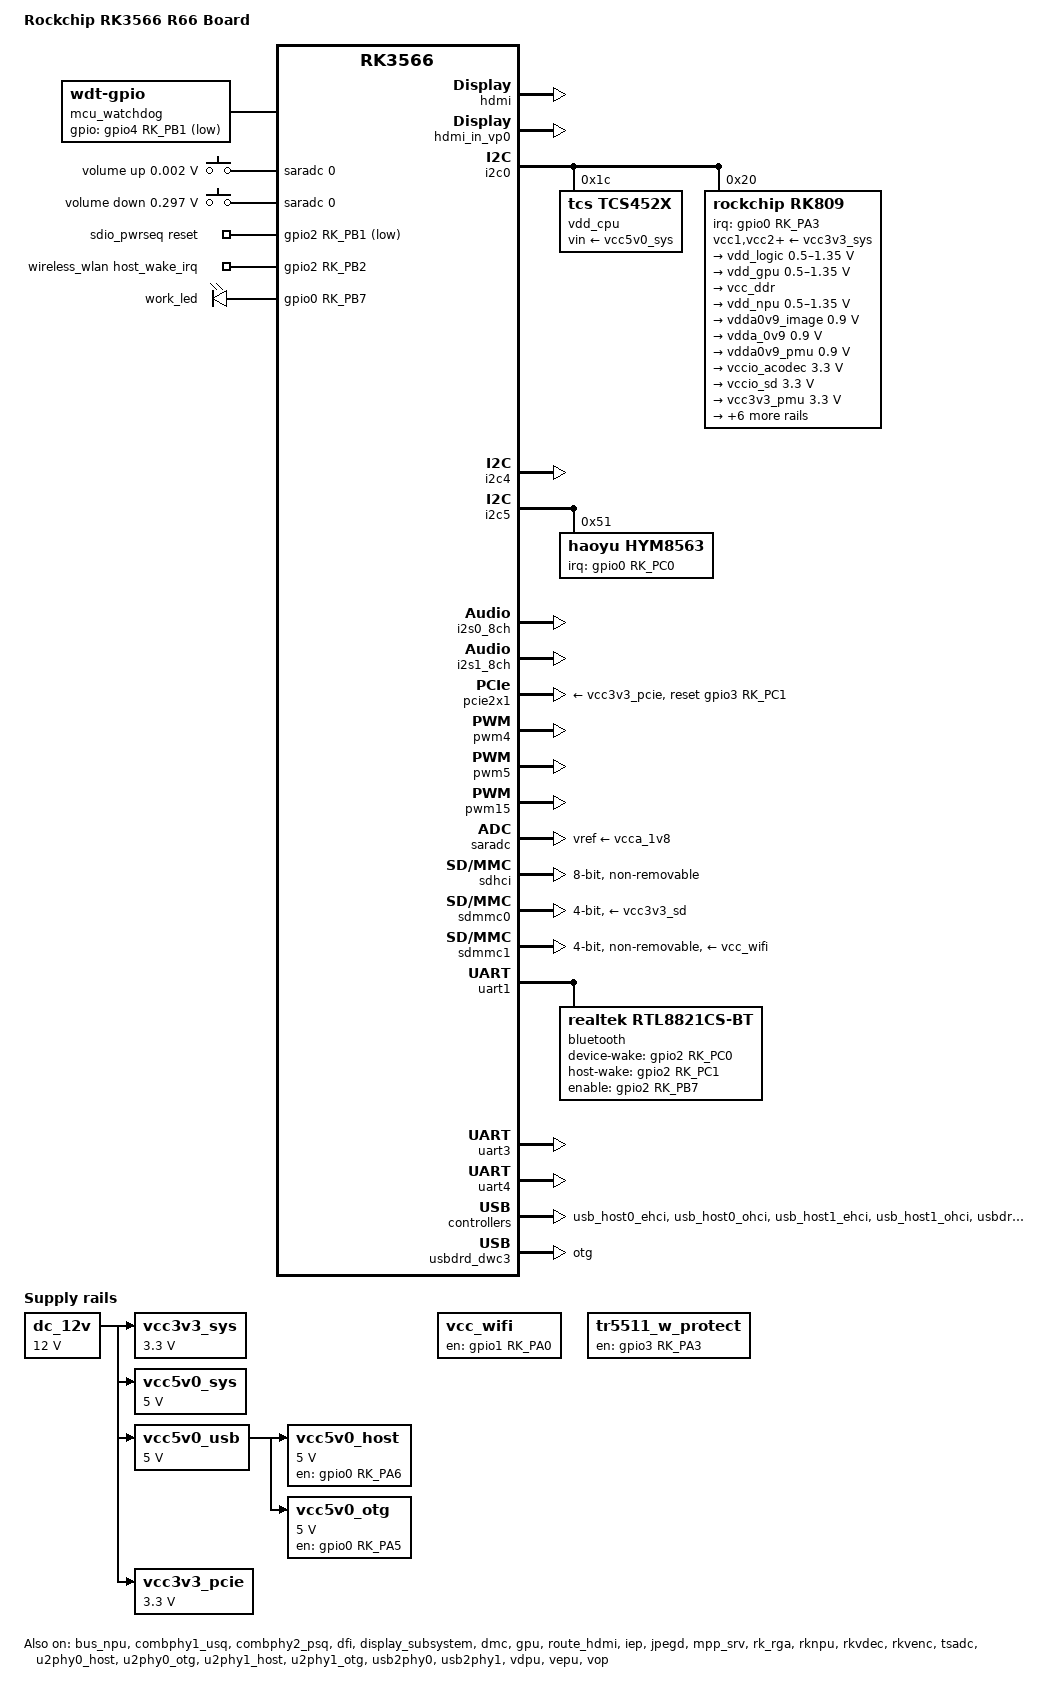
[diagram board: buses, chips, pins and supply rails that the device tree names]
// SPDX-License-Identifier: (GPL-2.0+ OR MIT)
/*
 * Device Tree for R66 (RK3566 DDR4) Board
 * Derived from factory Android DTB (Rockchip RK3566 EVB1 DDR4 V10 base)
 */

/dts-v1/;

#include <dt-bindings/gpio/gpio.h>
#include <dt-bindings/pwm/pwm.h>
#include <dt-bindings/pinctrl/rockchip.h>
#include <dt-bindings/input/rk-input.h>
#include <dt-bindings/display/drm_mipi_dsi.h>
#include "rk3566.dtsi"
#include "rk3568-linux.dtsi"

/ {
	model = "Rockchip RK3566 R66 Board";
	compatible = "rockchip,rk3566-r66", "rockchip,rk3566-evb1-ddr4-v10", "rockchip,rk3566";

	/*
	 * External MCU (spirit_mcu@15) hardware watchdog feed on GPIO4_B1.
	 * Driven automatically by the kernel gpio_wdt driver (always-running)
	 * so the board will never be reset by the external MCU.
	 */
	mcu_watchdog: watchdog-gpio {
		compatible = "linux,wdt-gpio";
		gpios = <&gpio4 RK_PB1 GPIO_ACTIVE_LOW>;
		hw_algo = "toggle";
		hw_margin_ms = <800>;
		always-running;
		pinctrl-names = "default";
		pinctrl-0 = <&feed_gpios>;
	};

	adc_keys: adc-keys {
		compatible = "adc-keys";
		io-channels = <&saradc 0>;
		io-channel-names = "buttons";
		keyup-threshold-microvolt = <1800000>;
		poll-interval = <100>;

		vol-up-key {
			label = "volume up";
			linux,code = <KEY_VOLUMEUP>;
			press-threshold-microvolt = <1750>;
		};

		vol-down-key {
			label = "volume down";
			linux,code = <KEY_VOLUMEDOWN>;
			press-threshold-microvolt = <297500>;
		};
	};

	dc_12v: dc-12v {
		compatible = "regulator-fixed";
		regulator-name = "dc_12v";
		regulator-always-on;
		regulator-boot-on;
		regulator-min-microvolt = <12000000>;
		regulator-max-microvolt = <12000000>;
	};

	vcc3v3_sys: vcc3v3-sys {
		compatible = "regulator-fixed";
		regulator-name = "vcc3v3_sys";
		regulator-always-on;
		regulator-boot-on;
		regulator-min-microvolt = <3300000>;
		regulator-max-microvolt = <3300000>;
		vin-supply = <&dc_12v>;
	};

	vcc5v0_sys: vcc5v0-sys {
		compatible = "regulator-fixed";
		regulator-name = "vcc5v0_sys";
		regulator-always-on;
		regulator-boot-on;
		regulator-min-microvolt = <5000000>;
		regulator-max-microvolt = <5000000>;
		vin-supply = <&dc_12v>;
	};

	vcc5v0_usb: vcc5v0-usb {
		compatible = "regulator-fixed";
		regulator-name = "vcc5v0_usb";
		regulator-always-on;
		regulator-boot-on;
		regulator-min-microvolt = <5000000>;
		regulator-max-microvolt = <5000000>;
		vin-supply = <&dc_12v>;
	};

	vcc5v0_host: vcc5v0-host-regulator {
		compatible = "regulator-fixed";
		regulator-name = "vcc5v0_host";
		regulator-boot-on;
		regulator-always-on;
		regulator-min-microvolt = <5000000>;
		regulator-max-microvolt = <5000000>;
		enable-active-high;
		gpio = <&gpio0 RK_PA6 GPIO_ACTIVE_HIGH>;
		vin-supply = <&vcc5v0_usb>;
		pinctrl-names = "default";
		pinctrl-0 = <&vcc5v0_host_en>;
	};

	vcc5v0_otg: vcc5v0-otg-regulator {
		compatible = "regulator-fixed";
		regulator-name = "vcc5v0_otg";
		regulator-min-microvolt = <5000000>;
		regulator-max-microvolt = <5000000>;
		enable-active-high;
		gpio = <&gpio0 RK_PA5 GPIO_ACTIVE_HIGH>;
		vin-supply = <&vcc5v0_usb>;
		pinctrl-names = "default";
		pinctrl-0 = <&vcc5v0_otg_en>;
	};

	vcc3v3_pcie: gpio-regulator {
		compatible = "regulator-fixed";
		regulator-name = "vcc3v3_pcie";
		regulator-min-microvolt = <3300000>;
		regulator-max-microvolt = <3300000>;
		enable-active-high;
		regulator-always-on;
		regulator-boot-on;
		startup-delay-us = <5000>;
		vin-supply = <&dc_12v>;
	};

	vcc_wifi: vcc-wifi-regulator {
		compatible = "regulator-fixed";
		gpio = <&gpio1 RK_PA0 GPIO_ACTIVE_HIGH>;
		pinctrl-names = "default";
		pinctrl-0 = <&wifi_pwr>;
		regulator-name = "vcc_wifi";
		enable-active-high;
		regulator-always-on;
		regulator-boot-on;
	};

	tr5511_w_protect: tr5511-W-protect-pin {
		compatible = "regulator-fixed";
		regulator-name = "tr5511_w_protect";
		gpio = <&gpio3 RK_PA3 GPIO_ACTIVE_HIGH>;
		pinctrl-names = "default";
		pinctrl-0 = <&tr5511_pin>;
		enable-active-high;
		regulator-always-on;
		regulator-boot-on;
	};

	sdio_pwrseq: sdio-pwrseq {
		compatible = "mmc-pwrseq-simple";
		clocks = <&rk809 1>;
		clock-names = "ext_clock";
		pinctrl-names = "default";
		pinctrl-0 = <&wifi_enable_h>;
		post-power-on-delay-ms = <200>;
		reset-gpios = <&gpio2 RK_PB1 GPIO_ACTIVE_LOW>;
	};

	wireless_wlan: wireless-wlan {
		compatible = "wlan-platdata";
		rockchip,grf = <&grf>;
		wifi_chip_type = "rtl8821cs";
		pinctrl-names = "default";
		pinctrl-0 = <&wifi_host_wake_irq>;
		WIFI,host_wake_irq = <&gpio2 RK_PB2 GPIO_ACTIVE_HIGH>;
		status = "okay";
	};

	hdmi_sound: hdmi-sound {
		compatible = "simple-audio-card";
		simple-audio-card,format = "i2s";
		simple-audio-card,mclk-fs = <128>;
		simple-audio-card,name = "rockchip,hdmi";
		status = "okay";

		simple-audio-card,cpu {
			sound-dai = <&i2s0_8ch>;
		};
		simple-audio-card,codec {
			sound-dai = <&hdmi>;
		};
	};

	rk809_sound: rk809-sound {
		status = "okay";
		compatible = "simple-audio-card";
		simple-audio-card,format = "i2s";
		simple-audio-card,name = "rockchip,rk809-codec";
		simple-audio-card,mclk-fs = <256>;

		simple-audio-card,cpu {
			sound-dai = <&i2s1_8ch>;
		};
		simple-audio-card,codec {
			sound-dai = <&rk809_codec>;
		};
	};

	leds: leds {
		compatible = "gpio-leds";

		work_led: work {
			gpios = <&gpio0 RK_PB7 GPIO_ACTIVE_HIGH>;
			linux,default-trigger = "heartbeat";
		};
	};

	/*
	 * Optional eDP backlight & panel (disabled by default so HDMI is primary).
	 * Change status to "okay" on backlight, panel_edp, &edp, &edp_phy,
	 * &edp_in_vp1, and &route_edp if you attach an eDP panel.
	 */
	backlight: backlight {
		status = "disabled";
		compatible = "pwm-backlight";
		pwms = <&pwm4 0 5000000 1>;
		brightness-levels = <0 255>;
		num-interpolated-steps = <255>;
		default-brightness-level = <200>;
		enable-gpios = <&gpio0 RK_PC7 GPIO_ACTIVE_HIGH>;
		pinctrl-names = "default";
		pinctrl-0 = <&edp_backlight_on>;
	};

	panel_edp: panel-edp {
		status = "disabled";
		compatible = "simple-panel";
		backlight = <&backlight>;
		enable-gpios = <&gpio0 RK_PC4 GPIO_ACTIVE_HIGH>;
		pinctrl-names = "default";
		pinctrl-0 = <&edp_vdd_en_gpio>;
		enable-delay-ms = <220>;
		prepare-delay-ms = <220>;
		reset-delay-ms = <220>;
		init-delay-ms = <220>;
		bpc = <8>;
		width-mm = <344>;
		height-mm = <193>;

		ports {
			#address-cells = <1>;
			#size-cells = <0>;

			port@0 {
				reg = <0>;

				panel_in_edp: endpoint {
					remote-endpoint = <&edp_out_panel>;
				};
			};
		};
	};
};

&bus_npu {
	bus-supply = <&vdd_logic>;
	pvtm-supply = <&vdd_cpu>;
	status = "okay";
};

&combphy1_usq {
	status = "okay";
};

&combphy2_psq {
	status = "okay";
};

&cpu0 {
	cpu-supply = <&vdd_cpu>;
};

&cpu1 {
	cpu-supply = <&vdd_cpu>;
};

&cpu2 {
	cpu-supply = <&vdd_cpu>;
};

&cpu3 {
	cpu-supply = <&vdd_cpu>;
};

&dfi {
	status = "okay";
};

&display_subsystem {
	status = "okay";
};

&dmc {
	center-supply = <&vdd_logic>;
	status = "okay";
};

&edp {
	force-hpd;
	status = "disabled";

	ports {
		port@1 {
			reg = <1>;

			edp_out_panel: endpoint {
				remote-endpoint = <&panel_in_edp>;
			};
		};
	};
};

&edp_phy {
	status = "disabled";
};

&edp_in_vp0 {
	status = "disabled";
};

&edp_in_vp1 {
	status = "disabled";
};

&gpu {
	mali-supply = <&vdd_gpu>;
	status = "okay";
};

&hdmi {
	status = "okay";
	pinctrl-names = "default";
	pinctrl-0 = <&hdmitx_scl &hdmitx_sda &hdmitxm0_cec>;
	rockchip,phy-table =
		<92812500  0x8009 0x0000 0x0270>,
		<165000000 0x800b 0x0000 0x0209>,
		<185625000 0x800b 0x0000 0x01ed>,
		<297000000 0x800b 0x0000 0x01ad>,
		<594000000 0x8029 0x0000 0x0088>,
		<000000000 0x0000 0x0000 0x0000>;
};

&hdmi_in_vp0 {
	status = "okay";
};

&hdmi_in_vp1 {
	status = "disabled";
};

&route_hdmi {
	status = "okay";
	connect = <&vp0_out_hdmi>;
};

&i2c0 {
	status = "okay";

	vdd_cpu: tcs4525@1c {
		compatible = "tcs,tcs452x";
		reg = <0x1c>;
		vin-supply = <&vcc5v0_sys>;
		regulator-compatible = "fan53555-reg";
		regulator-name = "vdd_cpu";
		regulator-min-microvolt = <712500>;
		regulator-max-microvolt = <1390000>;
		regulator-init-microvolt = <900000>;
		regulator-ramp-delay = <2300>;
		fcs,suspend-voltage-selector = <1>;
		regulator-boot-on;
		regulator-always-on;
		regulator-state-mem {
			regulator-off-in-suspend;
		};
	};

	rk809: pmic@20 {
		compatible = "rockchip,rk809";
		reg = <0x20>;
		interrupt-parent = <&gpio0>;
		interrupts = <RK_PA3 IRQ_TYPE_LEVEL_LOW>;

		pinctrl-names = "default", "pmic-sleep",
				"pmic-power-off", "pmic-reset";
		pinctrl-0 = <&pmic_int>;
		pinctrl-1 = <&soc_slppin_slp>, <&rk817_slppin_slp>;
		pinctrl-2 = <&soc_slppin_gpio>, <&rk817_slppin_pwrdn>;
		pinctrl-3 = <&soc_slppin_gpio>, <&rk817_slppin_rst>;

		rockchip,system-power-controller;
		wakeup-source;
		#clock-cells = <1>;
		clock-output-names = "rk808-clkout1", "rk808-clkout2";
		pmic-reset-func = <0>;
		not-save-power-en = <1>;

		vcc1-supply = <&vcc3v3_sys>;
		vcc2-supply = <&vcc3v3_sys>;
		vcc3-supply = <&vcc3v3_sys>;
		vcc4-supply = <&vcc3v3_sys>;
		vcc5-supply = <&vcc3v3_sys>;
		vcc6-supply = <&vcc3v3_sys>;
		vcc7-supply = <&vcc3v3_sys>;
		vcc8-supply = <&vcc3v3_sys>;
		vcc9-supply = <&vcc3v3_sys>;

		pwrkey {
			status = "okay";
		};

		pinctrl_rk8xx: pinctrl_rk8xx {
			gpio-controller;
			#gpio-cells = <2>;

			rk817_slppin_null: rk817_slppin_null {
				pins = "gpio_slp";
				function = "pin_fun0";
			};

			rk817_slppin_slp: rk817_slppin_slp {
				pins = "gpio_slp";
				function = "pin_fun1";
			};

			rk817_slppin_pwrdn: rk817_slppin_pwrdn {
				pins = "gpio_slp";
				function = "pin_fun2";
			};

			rk817_slppin_rst: rk817_slppin_rst {
				pins = "gpio_slp";
				function = "pin_fun3";
			};
		};

		regulators {
			vdd_logic: DCDC_REG1 {
				regulator-always-on;
				regulator-boot-on;
				regulator-min-microvolt = <500000>;
				regulator-max-microvolt = <1350000>;
				regulator-init-microvolt = <900000>;
				regulator-ramp-delay = <6001>;
				regulator-initial-mode = <0x2>;
				regulator-name = "vdd_logic";
				regulator-state-mem {
					regulator-off-in-suspend;
				};
			};

			vdd_gpu: DCDC_REG2 {
				regulator-always-on;
				regulator-boot-on;
				regulator-min-microvolt = <500000>;
				regulator-max-microvolt = <1350000>;
				regulator-init-microvolt = <900000>;
				regulator-ramp-delay = <6001>;
				regulator-initial-mode = <0x2>;
				regulator-name = "vdd_gpu";
				regulator-state-mem {
					regulator-off-in-suspend;
				};
			};

			vcc_ddr: DCDC_REG3 {
				regulator-always-on;
				regulator-boot-on;
				regulator-initial-mode = <0x2>;
				regulator-name = "vcc_ddr";
				regulator-state-mem {
					regulator-on-in-suspend;
				};
			};

			vdd_npu: DCDC_REG4 {
				regulator-always-on;
				regulator-boot-on;
				regulator-min-microvolt = <500000>;
				regulator-max-microvolt = <1350000>;
				regulator-init-microvolt = <900000>;
				regulator-ramp-delay = <6001>;
				regulator-initial-mode = <0x2>;
				regulator-name = "vdd_npu";
				regulator-state-mem {
					regulator-off-in-suspend;
				};
			};

			vdda0v9_image: LDO_REG1 {
				regulator-boot-on;
				regulator-always-on;
				regulator-min-microvolt = <900000>;
				regulator-max-microvolt = <900000>;
				regulator-name = "vdda0v9_image";
				regulator-state-mem {
					regulator-off-in-suspend;
				};
			};

			vdda_0v9: LDO_REG2 {
				regulator-always-on;
				regulator-boot-on;
				regulator-min-microvolt = <900000>;
				regulator-max-microvolt = <900000>;
				regulator-name = "vdda_0v9";
				regulator-state-mem {
					regulator-off-in-suspend;
				};
			};

			vdda0v9_pmu: LDO_REG3 {
				regulator-always-on;
				regulator-boot-on;
				regulator-min-microvolt = <900000>;
				regulator-max-microvolt = <900000>;
				regulator-name = "vdda0v9_pmu";
				regulator-state-mem {
					regulator-on-in-suspend;
					regulator-suspend-microvolt = <900000>;
				};
			};

			vccio_acodec: LDO_REG4 {
				regulator-always-on;
				regulator-boot-on;
				regulator-min-microvolt = <3300000>;
				regulator-max-microvolt = <3300000>;
				regulator-name = "vccio_acodec";
				regulator-state-mem {
					regulator-off-in-suspend;
				};
			};

			vccio_sd: LDO_REG5 {
				regulator-always-on;
				regulator-boot-on;
				regulator-min-microvolt = <3300000>;
				regulator-max-microvolt = <3300000>;
				regulator-name = "vccio_sd";
				regulator-state-mem {
					regulator-off-in-suspend;
				};
			};

			vcc3v3_pmu: LDO_REG6 {
				regulator-always-on;
				regulator-boot-on;
				regulator-min-microvolt = <3300000>;
				regulator-max-microvolt = <3300000>;
				regulator-name = "vcc3v3_pmu";
				regulator-state-mem {
					regulator-on-in-suspend;
					regulator-suspend-microvolt = <3300000>;
				};
			};

			vcca_1v8: LDO_REG7 {
				regulator-always-on;
				regulator-boot-on;
				regulator-min-microvolt = <1800000>;
				regulator-max-microvolt = <1800000>;
				regulator-name = "vcca_1v8";
				regulator-state-mem {
					regulator-off-in-suspend;
				};
			};

			vcca1v8_pmu: LDO_REG8 {
				regulator-always-on;
				regulator-boot-on;
				regulator-min-microvolt = <1800000>;
				regulator-max-microvolt = <1800000>;
				regulator-name = "vcca1v8_pmu";
				regulator-state-mem {
					regulator-on-in-suspend;
					regulator-suspend-microvolt = <1800000>;
				};
			};

			vcca1v8_image: LDO_REG9 {
				regulator-always-on;
				regulator-boot-on;
				regulator-min-microvolt = <1800000>;
				regulator-max-microvolt = <1800000>;
				regulator-name = "vcca1v8_image";
				regulator-state-mem {
					regulator-off-in-suspend;
				};
			};

			vcc_1v8: DCDC_REG5 {
				regulator-always-on;
				regulator-boot-on;
				regulator-min-microvolt = <1800000>;
				regulator-max-microvolt = <1800000>;
				regulator-name = "vcc_1v8";
				regulator-state-mem {
					regulator-off-in-suspend;
				};
			};

			vcc_3v3: SWITCH_REG1 {
				regulator-always-on;
				regulator-boot-on;
				regulator-name = "vcc_3v3";
				regulator-state-mem {
					regulator-off-in-suspend;
				};
			};

			vcc3v3_sd: SWITCH_REG2 {
				regulator-always-on;
				regulator-boot-on;
				regulator-name = "vcc3v3_sd";
				regulator-state-mem {
					regulator-off-in-suspend;
				};
			};
		};

		rk809_codec: codec {
			#sound-dai-cells = <0>;
			compatible = "rockchip,rk809-codec", "rockchip,rk817-codec";
			clocks = <&cru I2S1_MCLKOUT>;
			clock-names = "mclk";
			assigned-clocks = <&cru I2S1_MCLKOUT>, <&cru I2S1_MCLK_TX_IOE>;
			assigned-clock-rates = <12288000>;
			assigned-clock-parents = <&cru I2S1_MCLKOUT_TX>, <&cru I2S1_MCLKOUT_TX>;
			pinctrl-names = "default";
			pinctrl-0 = <&i2s1m0_mclk>;
			hp-volume = <30>;
			spk-volume = <35>;
			capture-volume = <20>;
			mic-in-differential;
			spk-ctl-gpios = <&gpio3 RK_PA2 GPIO_ACTIVE_HIGH>;
			use-ext-amplifier;
			status = "okay";
		};
	};
};

&i2c4 {
	pinctrl-names = "default";
	pinctrl-0 = <&i2c4m0_xfer>;
	status = "okay";
};

&i2c5 {
	pinctrl-names = "default";
	pinctrl-0 = <&i2c5m0_xfer>;
	status = "okay";

	hym8563: hym8563@51 {
		compatible = "haoyu,hym8563";
		reg = <0x51>;
		pinctrl-names = "default";
		pinctrl-0 = <&rtc_int>;
		interrupt-parent = <&gpio0>;
		interrupts = <RK_PC0 IRQ_TYPE_LEVEL_LOW>;
		#clock-cells = <0>;
		clock-output-names = "rtcic_32kout";
		wakeup-source;
	};
};

&i2s0_8ch {
	status = "okay";
};

&i2s1_8ch {
	status = "okay";
	rockchip,clk-trcm = <1>;
	pinctrl-names = "default";
	pinctrl-0 = <&i2s1m0_sclktx
		     &i2s1m0_lrcktx
		     &i2s1m0_sdi0
		     &i2s1m0_sdo0>;
};

&iep {
	status = "okay";
};

&iep_mmu {
	status = "okay";
};

&jpegd {
	status = "okay";
};

&jpegd_mmu {
	status = "okay";
};

&mpp_srv {
	status = "okay";
};

&pcie2x1 {
	reset-gpios = <&gpio3 RK_PC1 GPIO_ACTIVE_HIGH>;
	vpcie3v3-supply = <&vcc3v3_pcie>;
	status = "okay";
};

&pmu_io_domains {
	status = "okay";
	pmuio1-supply = <&vcc3v3_pmu>;
	pmuio2-supply = <&vcc3v3_pmu>;
	vccio1-supply = <&vccio_acodec>;
	vccio2-supply = <&vcc_1v8>;
	vccio3-supply = <&vccio_sd>;
	vccio4-supply = <&vcc_1v8>;
	vccio5-supply = <&vcc_3v3>;
	vccio6-supply = <&vcc_1v8>;
	vccio7-supply = <&vcc_3v3>;
};

&pwm4 {
	status = "okay";
};

&pwm5 {
	status = "okay";
};

&pwm15 {
	pinctrl-names = "active";
	pinctrl-0 = <&pwm15m1_pins>;
	status = "okay";
};

&rk_rga {
	status = "okay";
};

&rknpu {
	rknpu-supply = <&vdd_npu>;
	status = "okay";
};

&rknpu_mmu {
	status = "okay";
};

&rkvdec {
	status = "okay";
};

&rkvdec_mmu {
	status = "okay";
};

&rkvenc {
	venc-supply = <&vdd_logic>;
	status = "okay";
};

&rkvenc_mmu {
	status = "okay";
};

&saradc {
	status = "okay";
	vref-supply = <&vcca_1v8>;
};

&sdhci {
	bus-width = <8>;
	supports-emmc;
	non-removable;
	max-frequency = <200000000>;
	status = "okay";
};

&sdmmc0 {
	max-frequency = <50000000>;
	supports-sd;
	bus-width = <4>;
	cap-mmc-highspeed;
	cap-sd-highspeed;
	disable-wp;
	vmmc-supply = <&vcc3v3_sd>;
	vqmmc-supply = <&vccio_sd>;
	pinctrl-names = "default";
	pinctrl-0 = <&sdmmc0_bus4 &sdmmc0_clk &sdmmc0_cmd &sdmmc0_det>;
	status = "okay";
};

&sdmmc1 {
	max-frequency = <150000000>;
	supports-sdio;
	bus-width = <4>;
	disable-wp;
	cap-sd-highspeed;
	cap-sdio-irq;
	keep-power-in-suspend;
	mmc-pwrseq = <&sdio_pwrseq>;
	vmmc-supply = <&vcc_wifi>;
	vqmmc-supply = <&vcc_1v8>;
	non-removable;
	pinctrl-names = "default";
	pinctrl-0 = <&sdmmc1_bus4 &sdmmc1_cmd &sdmmc1_clk>;
	status = "okay";
};

&tsadc {
	rockchip,hw-tshut-mode = <0>;
	rockchip,hw-tshut-polarity = <0>;
	status = "okay";
};

&u2phy0_host {
	phy-supply = <&vcc5v0_host>;
	status = "okay";
};

&u2phy0_otg {
	vbus-supply = <&vcc5v0_otg>;
	status = "okay";
};

&u2phy1_host {
	phy-supply = <&vcc5v0_host>;
	status = "okay";
};

&u2phy1_otg {
	phy-supply = <&vcc5v0_host>;
	status = "okay";
};

&uart1 {
	status = "okay";
	pinctrl-names = "default";
	pinctrl-0 = <&uart1m0_xfer &uart1m0_ctsn &uart1m0_rtsn>;

	bluetooth {
		compatible = "realtek,rtl8821cs-bt", "realtek,rtl8723bs-bt";
		device-wake-gpios = <&gpio2 RK_PC0 GPIO_ACTIVE_HIGH>;
		host-wake-gpios = <&gpio2 RK_PC1 GPIO_ACTIVE_HIGH>;
		enable-gpios = <&gpio2 RK_PB7 GPIO_ACTIVE_HIGH>;
		pinctrl-names = "default";
		pinctrl-0 = <&bt_reset_gpio &bt_wake_gpio &bt_irq_gpio>;
	};
};

&uart3 {
	pinctrl-names = "default";
	pinctrl-0 = <&uart3m1_xfer>;
	status = "okay";
};

&uart4 {
	pinctrl-names = "default";
	pinctrl-0 = <&uart4m1_xfer>;
	status = "okay";
};

&usb2phy0 {
	status = "okay";
};

&usb2phy1 {
	status = "okay";
};

&usb_host0_ehci {
	status = "okay";
};

&usb_host0_ohci {
	status = "okay";
};

&usb_host1_ehci {
	status = "okay";
};

&usb_host1_ohci {
	status = "okay";
};

&usbdrd_dwc3 {
	dr_mode = "otg";
	extcon = <&usb2phy0>;
	status = "okay";
};

&usbdrd30 {
	status = "okay";
};

&usbhost_dwc3 {
	status = "okay";
};

&usbhost30 {
	status = "okay";
};

&vdpu {
	status = "okay";
};

&vdpu_mmu {
	status = "okay";
};

&vepu {
	status = "okay";
};

&vepu_mmu {
	status = "okay";
};

&vop {
	status = "okay";
	assigned-clocks = <&cru DCLK_VOP0>, <&cru DCLK_VOP1>;
	assigned-clock-parents = <&pmucru PLL_HPLL>, <&cru PLL_VPLL>;
};

&vop_mmu {
	status = "okay";
};

&pinctrl {
	edp {
		edp_backlight_on: edp-backlight-on {
			rockchip,pins = <0 RK_PC7 RK_FUNC_GPIO &pcfg_pull_none>;
		};

		edp_vdd_en_gpio: edp-vdd-en-gpio {
			rockchip,pins = <0 RK_PC4 RK_FUNC_GPIO &pcfg_pull_none>;
		};
	};

	headphone {
		hp_det: hp-det {
			rockchip,pins = <3 RK_PA1 RK_FUNC_GPIO &pcfg_pull_down>;
		};
	};

	mcu-watchdog {
		feed_gpios: fees-gpios {
			rockchip,pins = <4 RK_PB1 RK_FUNC_GPIO &pcfg_pull_none>;
		};
	};

	pmic {
		pmic_int: pmic_int {
			rockchip,pins = <0 RK_PA3 RK_FUNC_GPIO &pcfg_pull_up>;
		};

		soc_slppin_gpio: soc_slppin_gpio {
			rockchip,pins = <0 RK_PA2 RK_FUNC_GPIO &pcfg_output_low_pull_down>;
		};

		soc_slppin_slp: soc_slppin_slp {
			rockchip,pins = <0 RK_PA2 1 &pcfg_pull_up>;
		};

		soc_slppin_rst: soc_slppin_rst {
			rockchip,pins = <0 RK_PA2 2 &pcfg_pull_none>;
		};
	};

	rtc {
		rtc_int: rtc-int {
			rockchip,pins = <0 RK_PC0 RK_FUNC_GPIO &pcfg_pull_up>;
		};
	};

	sdio-pwrseq {
		wifi_enable_h: wifi-enable-h {
			rockchip,pins = <2 RK_PB1 RK_FUNC_GPIO &pcfg_pull_none>;
		};
	};

	tr5511 {
		tr5511_pin: tr5511-pin {
			rockchip,pins = <3 RK_PA3 RK_FUNC_GPIO &pcfg_pull_none>;
		};
	};

	usb {
		vcc5v0_host_en: vcc5v0-host-en {
			rockchip,pins = <0 RK_PA6 RK_FUNC_GPIO &pcfg_pull_none>;
		};

		vcc5v0_otg_en: vcc5v0-otg-en {
			rockchip,pins = <0 RK_PA5 RK_FUNC_GPIO &pcfg_pull_none>;
		};
	};

	wifi {
		wifi_pwr: wifi-pwr {
			rockchip,pins = <1 RK_PA0 RK_FUNC_GPIO &pcfg_pull_none>;
		};
	};

	wireless-wlan {
		wifi_host_wake_irq: wifi-host-wake-irq {
			rockchip,pins = <2 RK_PB2 RK_FUNC_GPIO &pcfg_pull_down>;
		};
	};

	wireless-bluetooth {
		bt_reset_gpio: bt-reset-gpio {
			rockchip,pins = <2 RK_PB7 RK_FUNC_GPIO &pcfg_pull_none>;
		};

		bt_wake_gpio: bt-wake-gpio {
			rockchip,pins = <2 RK_PC0 RK_FUNC_GPIO &pcfg_pull_none>;
		};

		bt_irq_gpio: bt-irq-gpio {
			rockchip,pins = <2 RK_PC1 RK_FUNC_GPIO &pcfg_pull_down>;
		};
	};
};
